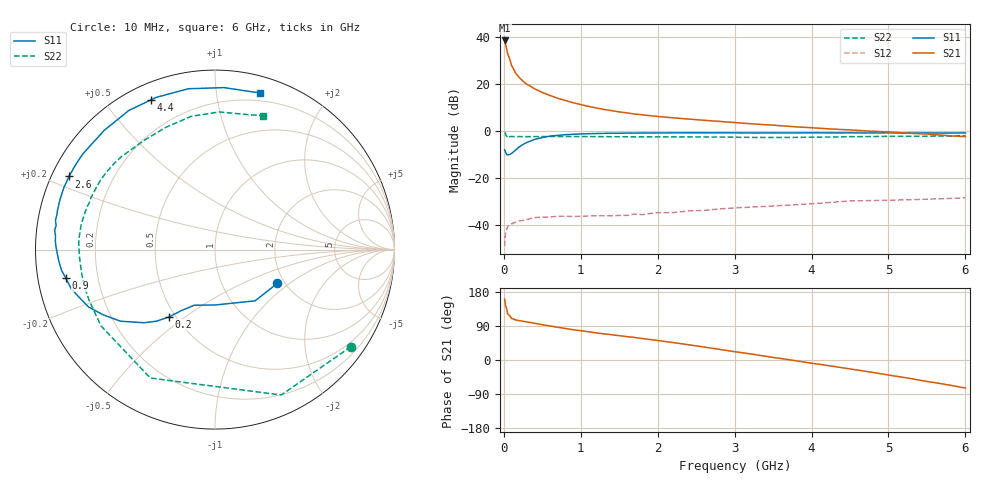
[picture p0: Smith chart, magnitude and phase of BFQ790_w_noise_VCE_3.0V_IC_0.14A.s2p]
! Infineon Technologies  Discrete & RF Semiconductors
! BFQ790
! VCE =  3.0 V,  IC = 0.14 A
! Common Emitter S-Parameters:  May 2015
# GHz  S  MA  R  50
!  f  S11  S21  S12  S22
! GHz  MAG  ANG  MAG  ANG  MAG  ANG  MAG  ANG
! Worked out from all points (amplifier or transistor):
!   77 points, 10 MHz to 6 GHz, reference 50 ohm
!   highest |S21| = 38.5 dB at 10 MHz (marker M1)
!   |S21| within 3 dB of that: start of sweep to 32.53 MHz
!   unconditionally stable (mu >= 1): 285.9 MHz to 325.2 MHz; 896.3 MHz to 911.1 MHz; 1.056 GHz to end of sweep
!   at 130 MHz: K = 0.73, MSG = 32.7 dB, |S12| = -39.2 dB
!   at 2.2 GHz: K = 1.28, MAG = 17.0 dB, |S12| = -34.8 dB
!   at 6 GHz: K = 1.17, MAG = 10.5 dB, |S12| = -28.5 dB
!   lowest NFmin = 2.89 dB at 1.5 GHz
!   S11 on the Smith chart (normalised r, x): 10 MHz: 1.83, -0.82; 200 MHz: 0.46, -0.44; 900 MHz: 0.08, -0.09; 2.6 GHz: 0.05, +0.24; 4.4 GHz: 0.07, +0.66; 6 GHz: 0.13, +1.32
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0.01  0.3949 -28.5  84.54 160.8  0.0035 64.9  0.9308 -35.5
0.02  0.3626 -51.9  73.32 144.9  0.0064 53.3  0.8903 -65.5
0.05  0.3085 -89.6  43.86 121.2  0.0093 32.5  0.8011 -116.7
0.1  0.3306 -110.4  24.72 109.7  0.0104 20.4  0.7643 -146.2
0.15  0.3864 -118.7  17.42 105.9  0.0114 19.8  0.7563 -158.2
0.2  0.4553 -124.4  13.68 103.8  0.0121 18.9  0.7565 -164.6
0.25  0.5157 -129.3  11.43 102.1  0.0124 18.7  0.7547 -168.8
0.3  0.5676 -134.1  9.848 100.5  0.013 15.7  0.7543 -172.0
0.4  0.6601 -142.8  7.888 96.8  0.0142 13.5  0.7559 -176.6
0.5  0.7227 -149.9  6.588 93.2  0.0146 12.4  0.7572 -179.9
0.6  0.7738 -155.6  5.679 89.8  0.0146 11.7  0.7598 177.4
0.7  0.8024 -160.7  4.961 86.3  0.0152 12.7  0.7597 175.1
0.9  0.8465 -169.2  3.984 80.0  0.015 9.1  0.7584 171.4
1.1  0.8724 -175.8  3.337 74.5  0.0154 7.5  0.757 168.0
1.5  0.892 175.1  2.545 64.2  0.0158 8.1  0.7513 162.4
2.1  0.9056 163.8  1.964 48.8  0.0181 8.8  0.7465 153.7
2.6  0.9097 153.4  1.685 34.3  0.0203 6.1  0.7428 144.2
3.1  0.9059 141.9  1.465 19.2  0.0233 -0.4  0.7305 133.0
4.1  0.9089 119.6  1.14 -11.3  0.0288 -13.6  0.7358 109.5
4.4  0.9072 113.2  1.068 -20.4  0.0313 -18.7  0.7477 102.4
5.1  0.904 96.9  0.928 -42.8  0.0336 -32.5  0.7662 86.0
6  0.9074 74.1  0.755 -74.0  0.0375 -52.0  0.7923 70.4
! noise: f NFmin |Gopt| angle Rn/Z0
0.45  4.62  0.43  137  0.45
0.9  3.28  0.56  166  0.15
1.5  2.89  0.67  -174  0.09
1.8  2.97  0.69  -168  0.09
2.6  3.31  0.73  -152  0.22
3.5  3.87  0.83  -136  0.52
